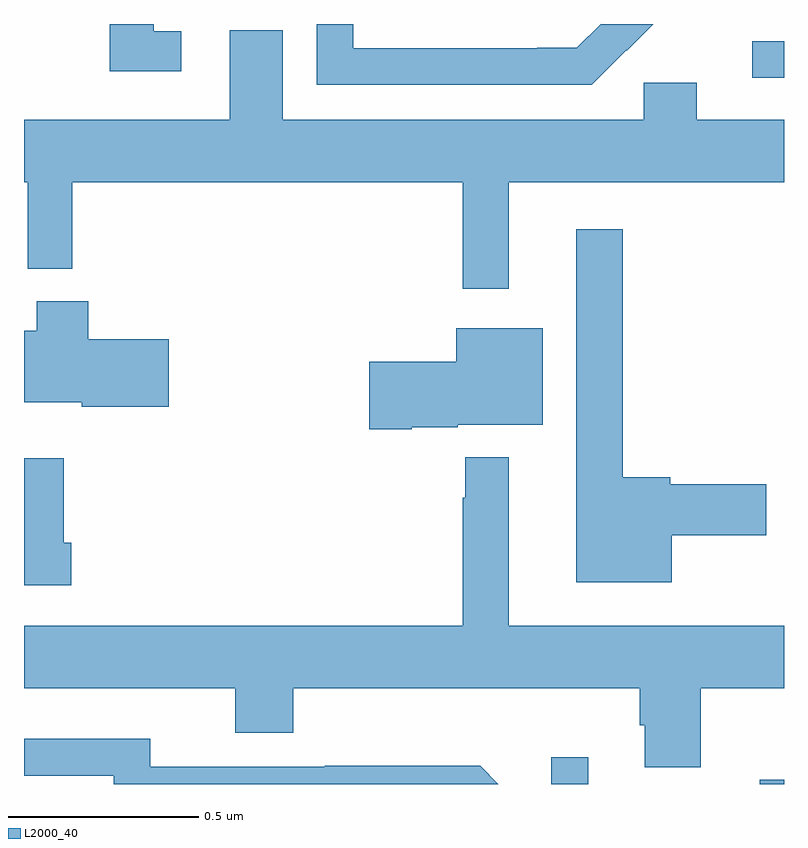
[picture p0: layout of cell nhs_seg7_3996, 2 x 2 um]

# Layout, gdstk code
import gdstk
lib = gdstk.Library(unit=1e-6, precision=1e-09)
def R(c, l, rs):  # rectangles x0, y0, x1, y1
    for r in rs: c.add(gdstk.rectangle(r[:2], r[2:], *l))
def P(c, l, *ps):  # polygons
    for p in ps: c.add(gdstk.Polygon(p, *l))
L2000_40 = (2000, 40)

nhs_seg7_3996 = lib.new_cell('nhs_seg7_3996')
R(nhs_seg7_3996, L2000_40, [(167.388,1031,167.485,1031.071), (167.936,1031,168,1031.011), (167.916,1032.858,168,1032.954)])
P(nhs_seg7_3996, L2000_40, [(167.585,1032.931),(167.586,1032.93),(167.656,1033),(167.518,1033),(167.455,1032.937),(167.351,1032.937),(167.351,1032.936),(166.867,1032.936),(166.867,1033),(166.77,1033),(166.77,1032.84),(167.494,1032.84)],
  [(166.414,1032.981),(166.341,1032.981),(166.341,1033),(166.225,1033),(166.225,1032.876),(166.414,1032.876)],
  [(167.275,1032.584),(168,1032.584),(168,1032.748),(167.77,1032.748),(167.77,1032.846),(167.631,1032.846),(167.631,1032.748),(166.681,1032.748),(166.681,1032.984),(166.541,1032.984),(166.541,1032.748),(166,1032.748),(166,1032.584),(166.01,1032.584),(166.01,1032.356),(166.127,1032.356),(166.127,1032.584),(167.154,1032.584),(167.154,1032.303),(167.275,1032.303)],
  [(167.704,1031.654),(167.953,1031.654),(167.953,1031.789),(167.7,1031.789),(167.7,1031.807),(167.575,1031.807),(167.575,1032.46),(167.453,1032.46),(167.453,1031.531),(167.704,1031.531)],
  [(166.381,1032.171),(166.169,1032.171),(166.169,1032.271),(166.034,1032.271),(166.034,1032.193),(166,1032.193),(166,1032.005),(166.152,1032.005),(166.152,1031.993),(166.381,1031.993)],
  [(167.02,1031.939),(167.142,1031.939),(167.142,1031.945),(167.365,1031.945),(167.365,1032.199),(167.138,1032.199),(167.138,1032.111),(166.908,1032.111),(166.908,1031.933),(167.02,1031.933)],
  [(167.781,1031.252),(168,1031.252),(168,1031.416),(167.275,1031.416),(167.275,1031.86),(167.161,1031.86),(167.161,1031.753),(167.154,1031.753),(167.154,1031.416),(166,1031.416),(166,1031.252),(166.556,1031.252),(166.556,1031.135),(166.709,1031.135),(166.709,1031.252),(167.621,1031.252),(167.621,1031.154),(167.633,1031.154),(167.633,1031.044),(167.781,1031.044)],
  [(166.124,1031.635),(166.104,1031.635),(166.104,1031.857),(166,1031.857),(166,1031.523),(166.124,1031.523)],
  [(167.2,1031.048),(166.792,1031.048),(166.792,1031.046),(166.332,1031.046),(166.332,1031.119),(166,1031.119),(166,1031.022),(166.236,1031.022),(166.236,1031),(167.248,1031)])

lib.write_gds('nhs_seg7_3996.gds')
